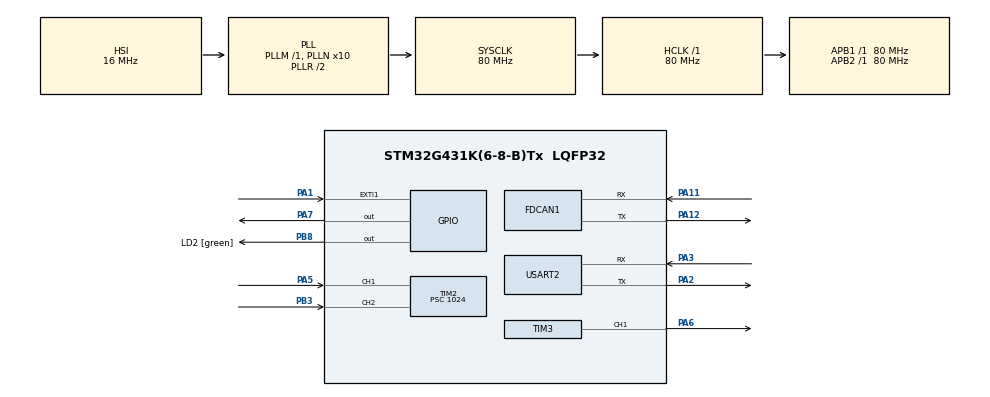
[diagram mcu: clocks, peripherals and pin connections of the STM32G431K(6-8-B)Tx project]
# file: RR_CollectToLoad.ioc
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FDCAN1.CalculateBaudRateNominal=1000000
FDCAN1.CalculateTimeBitNominal=1000
FDCAN1.CalculateTimeQuantumNominal=62.5
FDCAN1.DataPrescaler=2
FDCAN1.DataSyncJumpWidth=2
FDCAN1.DataTimeSeg1=10
FDCAN1.DataTimeSeg2=9
FDCAN1.FrameFormat=FDCAN_FRAME_FD_BRS
FDCAN1.NominalPrescaler=5
FDCAN1.NominalSyncJumpWidth=2
FDCAN1.NominalTimeSeg1=13
FDCAN1.StdFiltersNbr=1
Mcu.Family=STM32G4
Mcu.Name=STM32G431K(6-8-B)Tx
Mcu.Package=LQFP32
NVIC.EXTI1_IRQn=true\:0\:0\:false\:false\:true\:true\:true\:true
NVIC.FDCAN1_IT0_IRQn=true\:0\:0\:false\:false\:true\:true\:true\:true
NVIC.PriorityGroup=NVIC_PRIORITYGROUP_4
PA1.GPIO_PuPd=GPIO_PULLDOWN
PA1.Signal=GPXTI1
PA11.Mode=FDCAN_Activate
PA11.Signal=FDCAN1_RX
PA12.Mode=FDCAN_Activate
PA12.Signal=FDCAN1_TX
PA13.GPIO_Label=T_SWDIO
PA13.Mode=Serial_Wire
PA13.Signal=SYS_JTMS-SWDIO
PA14.GPIO_Label=T_SWCLK
PA14.Mode=Serial_Wire
PA14.Signal=SYS_JTCK-SWCLK
PA2.Mode=Asynchronous
PA2.Signal=USART2_TX
PA3.Mode=Asynchronous
PA3.Signal=USART2_RX
PA5.Signal=S_TIM2_CH1
PA6.Signal=S_TIM3_CH1
PA7.Signal=GPIO_Output
PB3.Signal=S_TIM2_CH2
PB8-BOOT0.GPIO_Label=LD2 [green]
PB8-BOOT0.Signal=GPIO_Output
ProjectManager.HeapSize=0x200
ProjectManager.StackSize=0x400
ProjectManager.TargetToolchain=STM32CubeIDE
RCC.ADC12Freq_Value=80000000
RCC.AHBFreq_Value=80000000
RCC.APB1Freq_Value=80000000
RCC.APB1TimFreq_Value=80000000
RCC.APB2Freq_Value=80000000
RCC.APB2TimFreq_Value=80000000
RCC.CortexFreq_Value=80000000
RCC.EXTERNAL_CLOCK_VALUE=12288000
RCC.HCLKFreq_Value=80000000
RCC.HSE_VALUE=8000000
RCC.HSI48_VALUE=48000000
RCC.HSI_VALUE=16000000
RCC.LSE_VALUE=32768
RCC.PLLN=10
RCC.SYSCLKFreq_VALUE=80000000
RCC.SYSCLKSource=RCC_SYSCLKSOURCE_PLLCLK
RCC.USBFreq_Value=80000000
RCC.VCOOutputFreq_Value=160000000
SH.S_TIM2_CH1.0=TIM2_CH1,Encoder_Interface
SH.S_TIM2_CH2.0=TIM2_CH2,Encoder_Interface
SH.S_TIM3_CH1.0=TIM3_CH1,PWM Generation1 CH1
TIM2.EncoderMode=TIM_ENCODERMODE_TI12
TIM2.Prescaler=1024
TIM3.Channel-PWM\ Generation1\ CH1=TIM_CHANNEL_1
TIM3.PeriodNoDither=99
TIM3.Prescaler=79
USART2.VirtualMode-Asynchronous=VM_ASYNC
VP_TIM3_VS_ClockSourceINT.Mode=Internal
board=NUCLEO-G431KB

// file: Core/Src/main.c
/* USER CODE BEGIN Header */
/**
  ******************************************************************************
  * @file           : main.c
  * @brief          : Main program body
  ******************************************************************************
  * @attention
  *
  * Copyright (c) 2023 STMicroelectronics.
  * All rights reserved.
  *
  * This software is licensed under terms that can be found in the LICENSE file
  * in the root directory of this software component.
  * If no LICENSE file comes with this software, it is provided AS-IS.
  *
  ******************************************************************************
  */

/**

 **************************
 * リング台の昇降機構のプログラム *
 **************************

**/

/* USER CODE END Header */
#include "main.h"

FDCAN_HandleTypeDef hfdcan1;

TIM_HandleTypeDef htim2;
TIM_HandleTypeDef htim3;

UART_HandleTypeDef huart2;

/* USER CODE BEGIN PV */
FDCAN_TxHeaderTypeDef TxHeader;
FDCAN_RxHeaderTypeDef RxHeader;
FDCAN_FilterTypeDef sFilterConfig;

uint8_t TxData[1];
uint8_t RxData[1];
uint32_t TxMailbox;
/* USER CODE END PV */

void SystemClock_Config(void);
static void MX_GPIO_Init(void);
static void MX_TIM3_Init(void);
static void MX_USART2_UART_Init(void);
static void MX_TIM2_Init(void);
static void MX_FDCAN1_Init(void);
/* USER CODE BEGIN PFP */
void HAL_GPIO_EXTI_Callback(uint16_t GPIO_Pin);

/* USER CODE END PFP */

/* USER CODE BEGIN 0 */
int origin = 0; //原点を取ったかを記録する変数
int cnt = 0; //エンコーダーのカウント
int flag = 0; //どの操作を実行するかのフラグ

void HAL_GPIO_EXTI_Callback(uint16_t GPIO_Pin){ //リミットスイッチを押したとき

	if (GPIO_Pin == GPIO_PIN_1 && origin == 0){
		__HAL_GPIO_EXTI_CLEAR_FLAG(GPIO_PIN_1);
		__HAL_TIM_SET_COMPARE(&htim3, TIM_CHANNEL_1, 0);
		HAL_GPIO_WritePin(GPIOA, GPIO_PIN_7, GPIO_PIN_SET);
		origin = 1;
		HAL_TIM_Encoder_Start(&htim2, TIM_CHANNEL_ALL);
	}
}

/* USER CODE END 0 */

int main(void)
{

  /* MCU Configuration--------------------------------------------------------*/

  /* Reset of all peripherals, Initializes the Flash interface and the Systick. */
  HAL_Init();

  /* Configure the system clock */
  SystemClock_Config();

  /* Initialize all configured peripherals */
  MX_GPIO_Init();
  MX_TIM3_Init();
  MX_USART2_UART_Init();
  MX_TIM2_Init();
  MX_FDCAN1_Init();
  /* USER CODE BEGIN 2 */

  __HAL_TIM_SET_COMPARE(&htim3, TIM_CHANNEL_1, 0);
  HAL_GPIO_WritePin(GPIOA, GPIO_PIN_7, GPIO_PIN_SET);
  HAL_TIM_PWM_Start(&htim3, TIM_CHANNEL_1);
  __HAL_GPIO_EXTI_CLEAR_FLAG(GPIO_PIN_1);

    TxHeader.Identifier = 0x513;
    TxHeader.IdType = FDCAN_STANDARD_ID;
    TxHeader.TxFrameType = FDCAN_DATA_FRAME;
    TxHeader.DataLength = FDCAN_DLC_BYTES_1;
    TxHeader.ErrorStateIndicator = FDCAN_ESI_ACTIVE;
    TxHeader.BitRateSwitch = FDCAN_BRS_ON;
    TxHeader.FDFormat = FDCAN_FD_CAN;
    TxHeader.TxEventFifoControl = FDCAN_NO_TX_EVENTS;
    TxHeader.MessageMarker = 0;

    FDCAN_FilterTypeDef sFilterConfig;
    sFilterConfig.IdType = FDCAN_STANDARD_ID;
    sFilterConfig.FilterIndex = 0;
    sFilterConfig.FilterType = FDCAN_FILTER_DUAL;
    sFilterConfig.FilterConfig = FDCAN_FILTER_TO_RXFIFO0;
    sFilterConfig.FilterID1 = 0x051;
    sFilterConfig.FilterID2 = 0x324;
  /* USER CODE END 2 */

  /* Infinite loop */
  while (1)
  {

    /* USER CODE BEGIN 3 */
	  if(flag == 1){//原点取り
		  HAL_GPIO_WritePin(GPIOA, GPIO_PIN_7, GPIO_PIN_RESET);
		  __HAL_TIM_SET_COMPARE(&htim3, TIM_CHANNEL_1, 60);
		  flag = 0;
	  }

	  if(flag == 2){ //台を上に上昇させる
		  HAL_GPIO_WritePin(GPIOA, GPIO_PIN_7, GPIO_PIN_SET);
		  __HAL_TIM_SET_COMPARE(&htim3, TIM_CHANNEL_1, 60);
		  cnt = abs(__HAL_TIM_GET_COUNTER(&htim2));

		  if(cnt == 510){
			  __HAL_TIM_SET_COMPARE(&htim3, TIM_CHANNEL_1, 0);
			  __HAL_TIM_SET_COUNTER(&htim2, 0);
			  flag = 0;
		  }

          // 次の行程へCAN通信
          TxHeader.Identifier = 0x312;
          TxData[0] = 0xff;
          if (HAL_FDCAN_AddMessageToTxFifoQ(&hfdcan1, &TxHeader, TxData) != HAL_OK)
          {
              Error_Handler();
          }
	  }

	  if(flag == 3){ //リング一つ分上昇させる
		  HAL_GPIO_WritePin(GPIOA, GPIO_PIN_7, GPIO_PIN_SET);
		  __HAL_TIM_SET_COMPARE(&htim3, TIM_CHANNEL_1, 60);
		  cnt = abs(__HAL_TIM_GET_COUNTER(&htim2));

		  if(cnt == 40){
			  __HAL_TIM_SET_COMPARE(&htim3, TIM_CHANNEL_1, 0);
			  flag = 0;
		  }

          // 次の行程へCAN通信
          TxHeader.Identifier = 0x312;
          TxData[0] = 0xff;
          if (HAL_FDCAN_AddMessageToTxFifoQ(&hfdcan1, &TxHeader, TxData) != HAL_OK)
          {
              Error_Handler();
          }
	  }
  }
  /* USER CODE END 3 */
}

void SystemClock_Config(void)
{
  RCC_OscInitTypeDef RCC_OscInitStruct = {0};
  RCC_ClkInitTypeDef RCC_ClkInitStruct = {0};

  /** Configure the main internal regulator output voltage
  */
  HAL_PWREx_ControlVoltageScaling(PWR_REGULATOR_VOLTAGE_SCALE1);

  /** Initializes the RCC Oscillators according to the specified parameters
  * in the RCC_OscInitTypeDef structure.
  */
  RCC_OscInitStruct.OscillatorType = RCC_OSCILLATORTYPE_HSI;
  RCC_OscInitStruct.HSIState = RCC_HSI_ON;
  RCC_OscInitStruct.HSICalibrationValue = RCC_HSICALIBRATION_DEFAULT;
  RCC_OscInitStruct.PLL.PLLState = RCC_PLL_ON;
  RCC_OscInitStruct.PLL.PLLSource = RCC_PLLSOURCE_HSI;
  RCC_OscInitStruct.PLL.PLLM = RCC_PLLM_DIV1;
  RCC_OscInitStruct.PLL.PLLN = 10;
  RCC_OscInitStruct.PLL.PLLP = RCC_PLLP_DIV2;
  RCC_OscInitStruct.PLL.PLLQ = RCC_PLLQ_DIV2;
  RCC_OscInitStruct.PLL.PLLR = RCC_PLLR_DIV2;
  if (HAL_RCC_OscConfig(&RCC_OscInitStruct) != HAL_OK)
  {
    Error_Handler();
  }

  /** Initializes the CPU, AHB and APB buses clocks
  */
  RCC_ClkInitStruct.ClockType = RCC_CLOCKTYPE_HCLK|RCC_CLOCKTYPE_SYSCLK
                              |RCC_CLOCKTYPE_PCLK1|RCC_CLOCKTYPE_PCLK2;
  RCC_ClkInitStruct.SYSCLKSource = RCC_SYSCLKSOURCE_PLLCLK;
  RCC_ClkInitStruct.AHBCLKDivider = RCC_SYSCLK_DIV1;
  RCC_ClkInitStruct.APB1CLKDivider = RCC_HCLK_DIV1;
  RCC_ClkInitStruct.APB2CLKDivider = RCC_HCLK_DIV1;

  if (HAL_RCC_ClockConfig(&RCC_ClkInitStruct, FLASH_LATENCY_2) != HAL_OK)
  {
    Error_Handler();
  }
}

static void MX_FDCAN1_Init(void)
{

  hfdcan1.Instance = FDCAN1;
  hfdcan1.Init.ClockDivider = FDCAN_CLOCK_DIV1;
  hfdcan1.Init.FrameFormat = FDCAN_FRAME_FD_BRS;
  hfdcan1.Init.Mode = FDCAN_MODE_NORMAL;
  hfdcan1.Init.AutoRetransmission = DISABLE;
  hfdcan1.Init.TransmitPause = DISABLE;
  hfdcan1.Init.ProtocolException = DISABLE;
  hfdcan1.Init.NominalPrescaler = 5;
  hfdcan1.Init.NominalSyncJumpWidth = 2;
  hfdcan1.Init.NominalTimeSeg1 = 13;
  hfdcan1.Init.NominalTimeSeg2 = 2;
  hfdcan1.Init.DataPrescaler = 2;
  hfdcan1.Init.DataSyncJumpWidth = 2;
  hfdcan1.Init.DataTimeSeg1 = 10;
  hfdcan1.Init.DataTimeSeg2 = 9;
  hfdcan1.Init.StdFiltersNbr = 1;
  hfdcan1.Init.ExtFiltersNbr = 0;
  hfdcan1.Init.TxFifoQueueMode = FDCAN_TX_FIFO_OPERATION;
  if (HAL_FDCAN_Init(&hfdcan1) != HAL_OK)
  {
    Error_Handler();
  }

}

static void MX_TIM2_Init(void)
{

  TIM_Encoder_InitTypeDef sConfig = {0};
  TIM_MasterConfigTypeDef sMasterConfig = {0};

  htim2.Instance = TIM2;
  htim2.Init.Prescaler = 1024;
  htim2.Init.CounterMode = TIM_COUNTERMODE_UP;
  htim2.Init.Period = 4.294967295E9;
  htim2.Init.ClockDivision = TIM_CLOCKDIVISION_DIV1;
  htim2.Init.AutoReloadPreload = TIM_AUTORELOAD_PRELOAD_DISABLE;
  sConfig.EncoderMode = TIM_ENCODERMODE_TI12;
  sConfig.IC1Polarity = TIM_ICPOLARITY_RISING;
  sConfig.IC1Selection = TIM_ICSELECTION_DIRECTTI;
  sConfig.IC1Prescaler = TIM_ICPSC_DIV1;
  sConfig.IC1Filter = 0;
  sConfig.IC2Polarity = TIM_ICPOLARITY_RISING;
  sConfig.IC2Selection = TIM_ICSELECTION_DIRECTTI;
  sConfig.IC2Prescaler = TIM_ICPSC_DIV1;
  sConfig.IC2Filter = 0;
  if (HAL_TIM_Encoder_Init(&htim2, &sConfig) != HAL_OK)
  {
    Error_Handler();
  }
  sMasterConfig.MasterOutputTrigger = TIM_TRGO_RESET;
  sMasterConfig.MasterSlaveMode = TIM_MASTERSLAVEMODE_DISABLE;
  if (HAL_TIMEx_MasterConfigSynchronization(&htim2, &sMasterConfig) != HAL_OK)
  {
    Error_Handler();
  }

}

static void MX_TIM3_Init(void)
{

  TIM_ClockConfigTypeDef sClockSourceConfig = {0};
  TIM_MasterConfigTypeDef sMasterConfig = {0};
  TIM_OC_InitTypeDef sConfigOC = {0};

  htim3.Instance = TIM3;
  htim3.Init.Prescaler = 79;
  htim3.Init.CounterMode = TIM_COUNTERMODE_UP;
  htim3.Init.Period = 99;
  htim3.Init.ClockDivision = TIM_CLOCKDIVISION_DIV1;
  htim3.Init.AutoReloadPreload = TIM_AUTORELOAD_PRELOAD_DISABLE;
  if (HAL_TIM_Base_Init(&htim3) != HAL_OK)
  {
    Error_Handler();
  }
  sClockSourceConfig.ClockSource = TIM_CLOCKSOURCE_INTERNAL;
  if (HAL_TIM_ConfigClockSource(&htim3, &sClockSourceConfig) != HAL_OK)
  {
    Error_Handler();
  }
  if (HAL_TIM_PWM_Init(&htim3) != HAL_OK)
  {
    Error_Handler();
  }
  sMasterConfig.MasterOutputTrigger = TIM_TRGO_RESET;
  sMasterConfig.MasterSlaveMode = TIM_MASTERSLAVEMODE_DISABLE;
  if (HAL_TIMEx_MasterConfigSynchronization(&htim3, &sMasterConfig) != HAL_OK)
  {
    Error_Handler();
  }
  sConfigOC.OCMode = TIM_OCMODE_PWM1;
  sConfigOC.Pulse = 0;
  sConfigOC.OCPolarity = TIM_OCPOLARITY_HIGH;
  sConfigOC.OCFastMode = TIM_OCFAST_DISABLE;
  if (HAL_TIM_PWM_ConfigChannel(&htim3, &sConfigOC, TIM_CHANNEL_1) != HAL_OK)
  {
    Error_Handler();
  }
  HAL_TIM_MspPostInit(&htim3);

}

static void MX_USART2_UART_Init(void)
{

  huart2.Instance = USART2;
  huart2.Init.BaudRate = 115200;
  huart2.Init.WordLength = UART_WORDLENGTH_8B;
  huart2.Init.StopBits = UART_STOPBITS_1;
  huart2.Init.Parity = UART_PARITY_NONE;
  huart2.Init.Mode = UART_MODE_TX_RX;
  huart2.Init.HwFlowCtl = UART_HWCONTROL_NONE;
  huart2.Init.OverSampling = UART_OVERSAMPLING_16;
  huart2.Init.OneBitSampling = UART_ONE_BIT_SAMPLE_DISABLE;
  huart2.Init.ClockPrescaler = UART_PRESCALER_DIV1;
  huart2.AdvancedInit.AdvFeatureInit = UART_ADVFEATURE_NO_INIT;
  if (HAL_UART_Init(&huart2) != HAL_OK)
  {
    Error_Handler();
  }
  if (HAL_UARTEx_SetTxFifoThreshold(&huart2, UART_TXFIFO_THRESHOLD_1_8) != HAL_OK)
  {
    Error_Handler();
  }
  if (HAL_UARTEx_SetRxFifoThreshold(&huart2, UART_RXFIFO_THRESHOLD_1_8) != HAL_OK)
  {
    Error_Handler();
  }
  if (HAL_UARTEx_DisableFifoMode(&huart2) != HAL_OK)
  {
    Error_Handler();
  }

}

static void MX_GPIO_Init(void)
{
  GPIO_InitTypeDef GPIO_InitStruct = {0};

  /* GPIO Ports Clock Enable */
  __HAL_RCC_GPIOA_CLK_ENABLE();
  __HAL_RCC_GPIOB_CLK_ENABLE();

  /*Configure GPIO pin Output Level */
  HAL_GPIO_WritePin(GPIOA, GPIO_PIN_7, GPIO_PIN_RESET);

  /*Configure GPIO pin Output Level */
  HAL_GPIO_WritePin(LD2_GPIO_Port, LD2_Pin, GPIO_PIN_RESET);

  /*Configure GPIO pin : PA1 */
  GPIO_InitStruct.Pin = GPIO_PIN_1;
  GPIO_InitStruct.Mode = GPIO_MODE_IT_RISING;
  GPIO_InitStruct.Pull = GPIO_PULLDOWN;
  HAL_GPIO_Init(GPIOA, &GPIO_InitStruct);

  /*Configure GPIO pin : PA7 */
  GPIO_InitStruct.Pin = GPIO_PIN_7;
  GPIO_InitStruct.Mode = GPIO_MODE_OUTPUT_PP;
  GPIO_InitStruct.Pull = GPIO_NOPULL;
  GPIO_InitStruct.Speed = GPIO_SPEED_FREQ_LOW;
  HAL_GPIO_Init(GPIOA, &GPIO_InitStruct);

  /*Configure GPIO pin : LD2_Pin */
  GPIO_InitStruct.Pin = LD2_Pin;
  GPIO_InitStruct.Mode = GPIO_MODE_OUTPUT_PP;
  GPIO_InitStruct.Pull = GPIO_NOPULL;
  GPIO_InitStruct.Speed = GPIO_SPEED_FREQ_LOW;
  HAL_GPIO_Init(LD2_GPIO_Port, &GPIO_InitStruct);

  /* EXTI interrupt init*/
  HAL_NVIC_SetPriority(EXTI1_IRQn, 0, 0);
  HAL_NVIC_EnableIRQ(EXTI1_IRQn);

}

/* USER CODE BEGIN 4 */
void HAL_FDCAN_RxFifo0Callback(FDCAN_HandleTypeDef *hfdcan1, uint32_t RxFifo0ITs) {
    if ((RxFifo0ITs & FDCAN_IT_RX_FIFO0_NEW_MESSAGE) != RESET) {
        /* Retrieve Rx messages from RX FIFO0 */
        if (HAL_FDCAN_GetRxMessage(hfdcan1, FDCAN_RX_FIFO0, &RxHeader, RxData) != HAL_OK) {
            Error_Handler();
        }

        if ((RxHeader.Identifier == 0x324)) {
            if (RxData[0] == 0x001){
                flag = 1;
            } else if (RxData[0] == 0x002){
                flag = 2;
            } else if (RxData[0] == 0x003){
                flag = 3;
            }
        }
        if ((RxHeader.Identifier == 0x051)) {
            flag = 1;
        }
    }
}

/* USER CODE END 4 */

void Error_Handler(void)
{
  __disable_irq();
  while (1)
  {
  }
}
